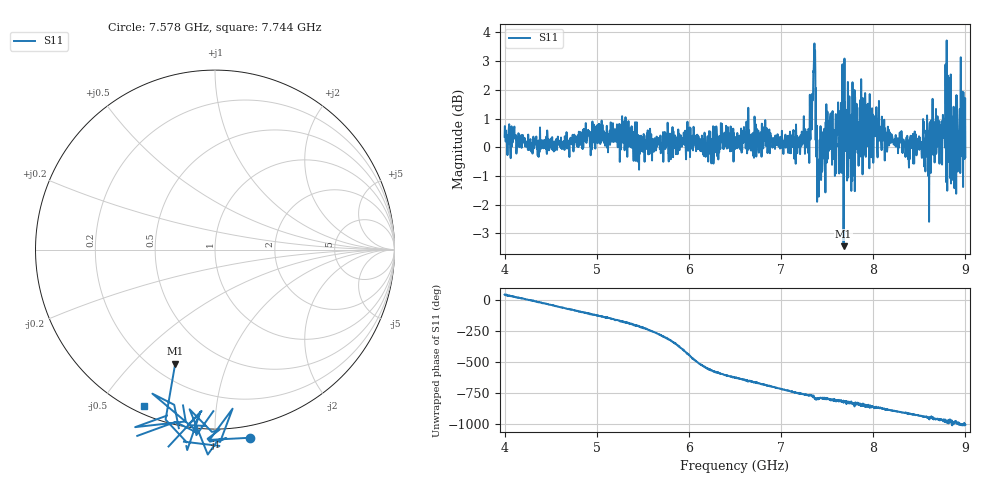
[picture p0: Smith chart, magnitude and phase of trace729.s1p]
! Created with skrf 1.8.0 (http://scikit-rf.org).
# Hz S RI R 50.0
!freq ReS11 ImS11
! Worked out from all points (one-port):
!   1601 points, 4 GHz to 9 GHz, reference 50 ohm
!   lowest |S11| = -3.4 dB at 7.678 GHz (marker M1), VSWR 5.11, Z = 14.4 - j33.5 ohm
!   |S11| at or under -10 dB: nowhere
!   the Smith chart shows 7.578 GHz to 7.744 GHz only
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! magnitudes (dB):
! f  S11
! 4 GHz  0.4
! 4.625 GHz  0.0
! 5.25 GHz  -0.5
! 5.875 GHz  0.1
! 6.5 GHz  -0.1
! 7.125 GHz  0.3
! 7.284 GHz  0.4
! 7.319 GHz  0.3
! 7.347 GHz  1.8
! 7.362 GHz  3.6
! 7.4 GHz  -0.7
! 7.416 GHz  -0.7
! 7.516 GHz  0.9
! 7.678 GHz  -3.4
! 7.688 GHz  3.1
! 7.75 GHz  0.4
! 7.769 GHz  -1.0
! 7.8 GHz  -1.5
! 7.891 GHz  0.8
! 7.981 GHz  -0.3
! 8.038 GHz  0.8
! 8.375 GHz  0.0
! 8.522 GHz  0.2
! 8.584 GHz  1.1
! 8.809 GHz  2.5
! 8.875 GHz  0.7
! 8.959 GHz  1.9
! 9 GHz  -0.3
